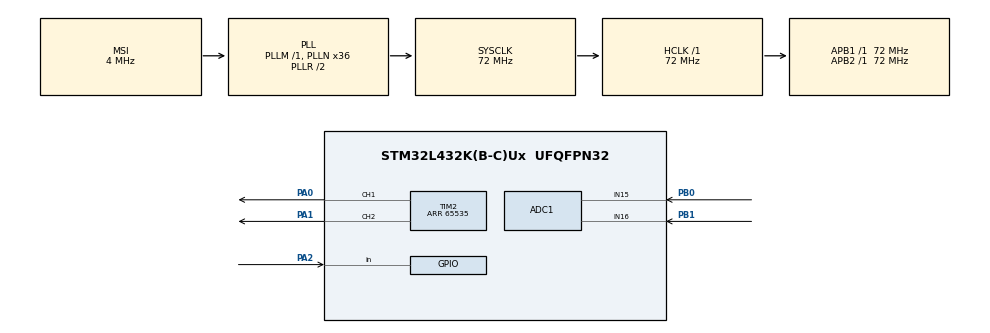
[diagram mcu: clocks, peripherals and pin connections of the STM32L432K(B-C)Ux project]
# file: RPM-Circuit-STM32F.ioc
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ADC1.Channel-2\#ChannelRegularConversion=ADC_CHANNEL_16
ADC1.Channel-3\#ChannelRegularConversion=ADC_CHANNEL_15
ADC1.ContinuousConvMode=ENABLE
ADC1.DMAContinuousRequests=ENABLE
ADC1.NbrOfConversion=2
ADC1.NbrOfConversionFlag=1
ADC1.OffsetNumber-2\#ChannelRegularConversion=ADC_OFFSET_NONE
ADC1.OffsetNumber-3\#ChannelRegularConversion=ADC_OFFSET_NONE
ADC1.Rank-2\#ChannelRegularConversion=1
ADC1.Rank-3\#ChannelRegularConversion=2
ADC1.SamplingTime-2\#ChannelRegularConversion=ADC_SAMPLETIME_2CYCLES_5
ADC1.SamplingTime-3\#ChannelRegularConversion=ADC_SAMPLETIME_2CYCLES_5
ADC1.master=1
Dma.ADC1.0.Direction=DMA_PERIPH_TO_MEMORY
Dma.ADC1.0.Instance=DMA1_Channel1
Dma.ADC1.0.MemDataAlignment=DMA_MDATAALIGN_WORD
Dma.ADC1.0.MemInc=DMA_MINC_ENABLE
Dma.ADC1.0.Mode=DMA_CIRCULAR
Dma.ADC1.0.PeriphDataAlignment=DMA_PDATAALIGN_WORD
Dma.ADC1.0.PeriphInc=DMA_PINC_DISABLE
Dma.ADC1.0.Priority=DMA_PRIORITY_LOW
Dma.Request0=ADC1
Mcu.Family=STM32L4
Mcu.Name=STM32L432K(B-C)Ux
Mcu.Package=UFQFPN32
NVIC.DMA1_Channel1_IRQn=true\:0\:0\:false\:false\:true\:false\:true\:true
NVIC.PriorityGroup=NVIC_PRIORITYGROUP_4
PA0.Signal=S_TIM2_CH1
PA1.Signal=S_TIM2_CH2
PA2.Signal=GPIO_Input
PB0.Signal=ADCx_IN15
PB1.Signal=ADCx_IN16
ProjectManager.HeapSize=0x200
ProjectManager.StackSize=0x400
ProjectManager.TargetToolchain=CMake
RCC.ADCCLockSelection=RCC_ADCCLKSOURCE_SYSCLK
RCC.ADCFreq_Value=72000000
RCC.AHBFreq_Value=72000000
RCC.APB1Freq_Value=72000000
RCC.APB1TimFreq_Value=72000000
RCC.APB2Freq_Value=72000000
RCC.APB2TimFreq_Value=72000000
RCC.CortexFreq_Value=72000000
RCC.HCLKFreq_Value=72000000
RCC.HSE_VALUE=8000000
RCC.HSI48_VALUE=48000000
RCC.HSI_VALUE=16000000
RCC.LSE_VALUE=32768
RCC.MSI_VALUE=4000000
RCC.PLLN=36
RCC.PLLSAI1N=16
RCC.SYSCLKFreq_VALUE=72000000
RCC.SYSCLKSource=RCC_SYSCLKSOURCE_PLLCLK
RCC.USBFreq_Value=32000000
RCC.VCOOutputFreq_Value=144000000
SH.ADCx_IN15.0=ADC1_IN15,IN15-Single-Ended
SH.ADCx_IN16.0=ADC1_IN16,IN16-Single-Ended
SH.S_TIM2_CH1.0=TIM2_CH1,PWM Generation1 CH1
SH.S_TIM2_CH2.0=TIM2_CH2,PWM Generation2 CH2
TIM2.AutoReloadPreload=TIM_AUTORELOAD_PRELOAD_ENABLE
TIM2.Channel-PWM\ Generation1\ CH1=TIM_CHANNEL_1
TIM2.Channel-PWM\ Generation2\ CH2=TIM_CHANNEL_2
TIM2.Period=65535
board=custom

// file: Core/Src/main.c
/* USER CODE BEGIN Header */
/**
  ******************************************************************************
  * @file           : main.c
  * @brief          : Main program body
  ******************************************************************************
  * @attention
  *
  * Copyright (c) 2026 STMicroelectronics.
  * All rights reserved.
  *
  * This software is licensed under terms that can be found in the LICENSE file
  * in the root directory of this software component.
  * If no LICENSE file comes with this software, it is provided AS-IS.
  *
  ******************************************************************************
  */
/* USER CODE END Header */
#include "main.h"

/* USER CODE BEGIN Includes */
#include <stdint.h>
#define TICKS_PER_HOUR 3600000.0f
#define TICKS_PER_MINUTE 60000.0f
#define TICKS_PER_SECOND 1000.0f
#define DIAMETER_OF_WHEEL_IN_M 0.1f
#define CIRCUMFERENCE_OF_WHEEL_IN_M 3.14159f * DIAMETER_OF_WHEEL_IN_M
#define CIRCUMERENCE_OF_WHEEL_IN_MILES CIRCUMFERENCE_OF_WHEEL_IN_M / 1609.34f

#define SECONDS_PER_HOUR 3600.0f
/* USER CODE END Includes */

ADC_HandleTypeDef hadc1;
DMA_HandleTypeDef hdma_adc1;

TIM_HandleTypeDef htim2;

/* USER CODE BEGIN PV */
volatile uint32_t currentPulseTime = 0;
volatile uint32_t prevPulseTime = 0;
uint32_t AD_RES_BUFFER[16];

float ticksBetweenPulses = 0;
float frequency = 0;
float metersPerSecond = 0;
float milesPerHour = 0;
/* USER CODE END PV */

void SystemClock_Config(void);
static void MX_GPIO_Init(void);
static void MX_DMA_Init(void);
static void MX_ADC1_Init(void);
static void MX_TIM2_Init(void);

int main(void)
{

  /* MCU Configuration--------------------------------------------------------*/

  /* Reset of all peripherals, Initializes the Flash interface and the Systick. */
  HAL_Init();

  /* Configure the system clock */
  SystemClock_Config();

  /* Initialize all configured peripherals */
  MX_GPIO_Init();
  MX_DMA_Init();
  MX_ADC1_Init();
  MX_TIM2_Init();
  /* USER CODE BEGIN 2 */
  volatile GPIO_PinState pinState = HAL_GPIO_ReadPin(GPIOA, GPIO_PIN_2);
  HAL_TIM_PWM_Start(&htim2, TIM_CHANNEL_1);
  HAL_TIM_PWM_Start(&htim2, TIM_CHANNEL_2);
  HAL_ADC_Start_DMA(&hadc1, AD_RES_BUFFER, 16);
  /* USER CODE END 2 */

  /* Infinite loop */
  /* USER CODE BEGIN WHILE */
  while (1)
  {

    if(HAL_GPIO_ReadPin(GPIOA, GPIO_PIN_2) == GPIO_PIN_SET)
    {
      //A1 high
      pinState = GPIO_PIN_SET;

    }
    else if(HAL_GPIO_ReadPin(GPIOA, GPIO_PIN_2) == GPIO_PIN_RESET)
    {
      //A1 low

        if(pinState != GPIO_PIN_RESET)
      {
        currentPulseTime = HAL_GetTick();
        ticksBetweenPulses = currentPulseTime - prevPulseTime;
        frequency = TICKS_PER_SECOND / ticksBetweenPulses;
        metersPerSecond = frequency * CIRCUMFERENCE_OF_WHEEL_IN_M;
        milesPerHour = frequency * SECONDS_PER_HOUR * CIRCUMERENCE_OF_WHEEL_IN_MILES;

        prevPulseTime = currentPulseTime;

      }
       pinState = GPIO_PIN_RESET;

    }

  }
    /* USER CODE END WHILE */

}

void SystemClock_Config(void)
{
  RCC_OscInitTypeDef RCC_OscInitStruct = {0};
  RCC_ClkInitTypeDef RCC_ClkInitStruct = {0};

  /** Configure the main internal regulator output voltage
  */
  if (HAL_PWREx_ControlVoltageScaling(PWR_REGULATOR_VOLTAGE_SCALE1) != HAL_OK)
  {
    Error_Handler();
  }

  /** Initializes the RCC Oscillators according to the specified parameters
  * in the RCC_OscInitTypeDef structure.
  */
  RCC_OscInitStruct.OscillatorType = RCC_OSCILLATORTYPE_MSI;
  RCC_OscInitStruct.MSIState = RCC_MSI_ON;
  RCC_OscInitStruct.MSICalibrationValue = 0;
  RCC_OscInitStruct.MSIClockRange = RCC_MSIRANGE_6;
  RCC_OscInitStruct.PLL.PLLState = RCC_PLL_ON;
  RCC_OscInitStruct.PLL.PLLSource = RCC_PLLSOURCE_MSI;
  RCC_OscInitStruct.PLL.PLLM = 1;
  RCC_OscInitStruct.PLL.PLLN = 36;
  RCC_OscInitStruct.PLL.PLLP = RCC_PLLP_DIV7;
  RCC_OscInitStruct.PLL.PLLQ = RCC_PLLQ_DIV2;
  RCC_OscInitStruct.PLL.PLLR = RCC_PLLR_DIV2;
  if (HAL_RCC_OscConfig(&RCC_OscInitStruct) != HAL_OK)
  {
    Error_Handler();
  }

  /** Initializes the CPU, AHB and APB buses clocks
  */
  RCC_ClkInitStruct.ClockType = RCC_CLOCKTYPE_HCLK|RCC_CLOCKTYPE_SYSCLK
                              |RCC_CLOCKTYPE_PCLK1|RCC_CLOCKTYPE_PCLK2;
  RCC_ClkInitStruct.SYSCLKSource = RCC_SYSCLKSOURCE_PLLCLK;
  RCC_ClkInitStruct.AHBCLKDivider = RCC_SYSCLK_DIV1;
  RCC_ClkInitStruct.APB1CLKDivider = RCC_HCLK_DIV1;
  RCC_ClkInitStruct.APB2CLKDivider = RCC_HCLK_DIV1;

  if (HAL_RCC_ClockConfig(&RCC_ClkInitStruct, FLASH_LATENCY_4) != HAL_OK)
  {
    Error_Handler();
  }
}

static void MX_ADC1_Init(void)
{

  ADC_ChannelConfTypeDef sConfig = {0};

  /** Common config
  */
  hadc1.Instance = ADC1;
  hadc1.Init.ClockPrescaler = ADC_CLOCK_ASYNC_DIV1;
  hadc1.Init.Resolution = ADC_RESOLUTION_12B;
  hadc1.Init.DataAlign = ADC_DATAALIGN_RIGHT;
  hadc1.Init.ScanConvMode = ADC_SCAN_ENABLE;
  hadc1.Init.EOCSelection = ADC_EOC_SINGLE_CONV;
  hadc1.Init.LowPowerAutoWait = DISABLE;
  hadc1.Init.ContinuousConvMode = ENABLE;
  hadc1.Init.NbrOfConversion = 2;
  hadc1.Init.DiscontinuousConvMode = DISABLE;
  hadc1.Init.ExternalTrigConv = ADC_SOFTWARE_START;
  hadc1.Init.ExternalTrigConvEdge = ADC_EXTERNALTRIGCONVEDGE_NONE;
  hadc1.Init.DMAContinuousRequests = ENABLE;
  hadc1.Init.Overrun = ADC_OVR_DATA_PRESERVED;
  hadc1.Init.OversamplingMode = DISABLE;
  if (HAL_ADC_Init(&hadc1) != HAL_OK)
  {
    Error_Handler();
  }

  /** Configure Regular Channel
  */
  sConfig.Channel = ADC_CHANNEL_16;
  sConfig.Rank = ADC_REGULAR_RANK_1;
  sConfig.SamplingTime = ADC_SAMPLETIME_2CYCLES_5;
  sConfig.SingleDiff = ADC_SINGLE_ENDED;
  sConfig.OffsetNumber = ADC_OFFSET_NONE;
  sConfig.Offset = 0;
  if (HAL_ADC_ConfigChannel(&hadc1, &sConfig) != HAL_OK)
  {
    Error_Handler();
  }

  /** Configure Regular Channel
  */
  sConfig.Channel = ADC_CHANNEL_15;
  sConfig.Rank = ADC_REGULAR_RANK_2;
  if (HAL_ADC_ConfigChannel(&hadc1, &sConfig) != HAL_OK)
  {
    Error_Handler();
  }

}

static void MX_TIM2_Init(void)
{

  TIM_MasterConfigTypeDef sMasterConfig = {0};
  TIM_OC_InitTypeDef sConfigOC = {0};

  htim2.Instance = TIM2;
  htim2.Init.Prescaler = 0;
  htim2.Init.CounterMode = TIM_COUNTERMODE_UP;
  htim2.Init.Period = 65535;
  htim2.Init.ClockDivision = TIM_CLOCKDIVISION_DIV1;
  htim2.Init.AutoReloadPreload = TIM_AUTORELOAD_PRELOAD_ENABLE;
  if (HAL_TIM_PWM_Init(&htim2) != HAL_OK)
  {
    Error_Handler();
  }
  sMasterConfig.MasterOutputTrigger = TIM_TRGO_RESET;
  sMasterConfig.MasterSlaveMode = TIM_MASTERSLAVEMODE_DISABLE;
  if (HAL_TIMEx_MasterConfigSynchronization(&htim2, &sMasterConfig) != HAL_OK)
  {
    Error_Handler();
  }
  sConfigOC.OCMode = TIM_OCMODE_PWM1;
  sConfigOC.Pulse = 0;
  sConfigOC.OCPolarity = TIM_OCPOLARITY_HIGH;
  sConfigOC.OCFastMode = TIM_OCFAST_DISABLE;
  if (HAL_TIM_PWM_ConfigChannel(&htim2, &sConfigOC, TIM_CHANNEL_1) != HAL_OK)
  {
    Error_Handler();
  }
  if (HAL_TIM_PWM_ConfigChannel(&htim2, &sConfigOC, TIM_CHANNEL_2) != HAL_OK)
  {
    Error_Handler();
  }
  HAL_TIM_MspPostInit(&htim2);

}

static void MX_DMA_Init(void)
{

  /* DMA controller clock enable */
  __HAL_RCC_DMA1_CLK_ENABLE();

  /* DMA interrupt init */
  /* DMA1_Channel1_IRQn interrupt configuration */
  HAL_NVIC_SetPriority(DMA1_Channel1_IRQn, 0, 0);
  HAL_NVIC_EnableIRQ(DMA1_Channel1_IRQn);

}

static void MX_GPIO_Init(void)
{
  GPIO_InitTypeDef GPIO_InitStruct = {0};

  /* GPIO Ports Clock Enable */
  __HAL_RCC_GPIOA_CLK_ENABLE();
  __HAL_RCC_GPIOB_CLK_ENABLE();

  /*Configure GPIO pin : PA2 */
  GPIO_InitStruct.Pin = GPIO_PIN_2;
  GPIO_InitStruct.Mode = GPIO_MODE_INPUT;
  GPIO_InitStruct.Pull = GPIO_NOPULL;
  HAL_GPIO_Init(GPIOA, &GPIO_InitStruct);

}

/* USER CODE BEGIN 4 */
void HAL_ADC_ConvCpltCallback(ADC_HandleTypeDef* hadc) {
	TIM2->CCR1 = (AD_RES_BUFFER[0] << 4);
	TIM2->CCR2 = (AD_RES_BUFFER[1] << 4);
}
/* USER CODE END 4 */

void Error_Handler(void)
{
  __disable_irq();
  while (1)
  {
  }
}
